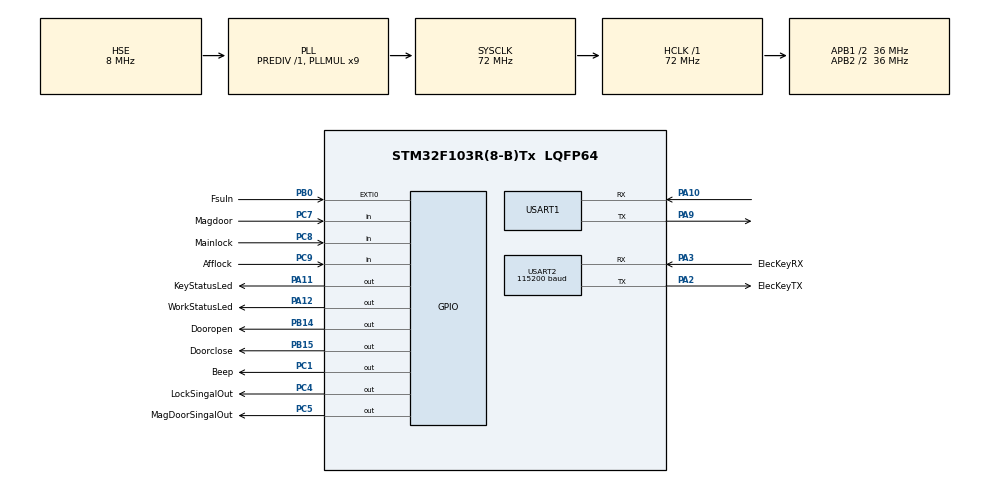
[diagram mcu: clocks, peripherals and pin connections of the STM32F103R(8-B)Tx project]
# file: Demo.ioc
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Mcu.Family=STM32F1
Mcu.Name=STM32F103R(8-B)Tx
Mcu.Package=LQFP64
Mcu.UserConstants=TIM2CounterPeriod,1999;Timer2_1S,1;Timer3_10S,10
NVIC.EXTI0_IRQn=true\:0\:1\:true\:true\:true\:1
NVIC.PriorityGroup=NVIC_PRIORITYGROUP_1
NVIC.TIM2_IRQn=true\:1\:1\:true\:false\:true
NVIC.TIM3_IRQn=true\:1\:1\:true\:false\:true
NVIC.USART1_IRQn=true\:1\:1\:true\:false\:true
NVIC.USART2_IRQn=true\:1\:1\:true\:false\:true
PA10.Mode=Asynchronous
PA10.Signal=USART1_RX
PA11.GPIO_Label=KeyStatusLed
PA11.GPIO_Speed=GPIO_SPEED_FREQ_HIGH
PA11.Signal=GPIO_Output
PA12.GPIO_Label=WorkStatusLed
PA12.GPIO_ModeDefaultOutputPP=GPIO_MODE_OUTPUT_PP
PA12.GPIO_Speed=GPIO_SPEED_FREQ_HIGH
PA12.Signal=GPIO_Output
PA13.Mode=Serial_Wire
PA13.Signal=SYS_JTMS-SWDIO
PA14.Mode=Serial_Wire
PA14.Signal=SYS_JTCK-SWCLK
PA2.GPIO_Label=ElecKeyTX
PA2.Mode=Asynchronous
PA2.Signal=USART2_TX
PA3.GPIO_Label=ElecKeyRX
PA3.Mode=Asynchronous
PA3.Signal=USART2_RX
PA9.Mode=Asynchronous
PA9.Signal=USART1_TX
PB0.GPIO_Label=FsuIn
PB0.GPIO_ModeDefaultEXTI=GPIO_MODE_IT_FALLING
PB0.GPIO_PuPd=GPIO_PULLUP
PB0.Signal=GPXTI0
PB14.GPIO_Label=Dooropen
PB14.GPIO_Speed=GPIO_SPEED_FREQ_HIGH
PB14.Signal=GPIO_Output
PB15.GPIO_Label=Doorclose
PB15.GPIO_Speed=GPIO_SPEED_FREQ_HIGH
PB15.Signal=GPIO_Output
PC1.GPIO_Label=Beep
PC1.GPIO_Speed=GPIO_SPEED_FREQ_HIGH
PC1.Signal=GPIO_Output
PC4.GPIO_Label=LockSingalOut
PC4.GPIO_Speed=GPIO_SPEED_FREQ_HIGH
PC4.PinState=GPIO_PIN_SET
PC4.Signal=GPIO_Output
PC5.GPIO_Label=MagDoorSingalOut
PC5.GPIO_Speed=GPIO_SPEED_FREQ_HIGH
PC5.PinState=GPIO_PIN_SET
PC5.Signal=GPIO_Output
PC7.GPIO_Label=Magdoor
PC7.Signal=GPIO_Input
PC8.GPIO_Label=Mainlock
PC8.GPIO_PuPd=GPIO_NOPULL
PC8.Signal=GPIO_Input
PC9.GPIO_Label=Afflock
PC9.Signal=GPIO_Input
PD0-OSC_IN.Mode=HSE-External-Oscillator
PD0-OSC_IN.Signal=RCC_OSC_IN
PD1-OSC_OUT.Mode=HSE-External-Oscillator
PD1-OSC_OUT.Signal=RCC_OSC_OUT
ProjectManager.HeapSize=0x200
ProjectManager.StackSize=0x400
ProjectManager.TargetToolchain=MDK-ARM V5
RCC.AHBFreq_Value=72000000
RCC.APB1CLKDivider=RCC_HCLK_DIV2
RCC.APB1Freq_Value=36000000
RCC.APB1TimFreq_Value=72000000
RCC.APB2CLKDivider=RCC_HCLK_DIV2
RCC.APB2Freq_Value=36000000
RCC.APB2TimFreq_Value=72000000
RCC.HCLKFreq_Value=72000000
RCC.HSIState=RCC_HSI_ON
RCC.PLLMUL=RCC_PLL_MUL9
RCC.PLLSourceVirtual=RCC_PLLSOURCE_HSE
RCC.SYSCLKFreq_VALUE=72000000
RCC.SYSCLKSource=RCC_SYSCLKSOURCE_PLLCLK
RCC.USBFreq_Value=72000000
TIM2.Period=1999
TIM2.Prescaler=35999
TIM3.Period=19999
TIM3.Prescaler=35999
USART2.BaudRate=115200
VP_TIM2_VS_ClockSourceINT.Mode=Internal
VP_TIM3_VS_ClockSourceINT.Mode=Internal
board=Demo_LEDandTimer2andUART2

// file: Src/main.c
/**
  ******************************************************************************
  * File Name          : main.c
  * Description        : Main program body
  ******************************************************************************
  *
  * COPYRIGHT(c) 2016 STMicroelectronics
  *
  * Redistribution and use in source and binary forms, with or without modification,
  * are permitted provided that the following conditions are met:
  *   1. Redistributions of source code must retain the above copyright notice,
  *      this list of conditions and the following disclaimer.
  *   2. Redistributions in binary form must reproduce the above copyright notice,
  *      this list of conditions and the following disclaimer in the documentation
  *      and/or other materials provided with the distribution.
  *   3. Neither the name of STMicroelectronics nor the names of its contributors
  *      may be used to endorse or promote products derived from this software
  *      without specific prior written permission.
  *
  * THIS SOFTWARE IS PROVIDED BY THE COPYRIGHT HOLDERS AND CONTRIBUTORS "AS IS"
  * AND ANY EXPRESS OR IMPLIED WARRANTIES, INCLUDING, BUT NOT LIMITED TO, THE
  * IMPLIED WARRANTIES OF MERCHANTABILITY AND FITNESS FOR A PARTICULAR PURPOSE ARE
  * DISCLAIMED. IN NO EVENT SHALL THE COPYRIGHT HOLDER OR CONTRIBUTORS BE LIABLE
  * FOR ANY DIRECT, INDIRECT, INCIDENTAL, SPECIAL, EXEMPLARY, OR CONSEQUENTIAL
  * DAMAGES (INCLUDING, BUT NOT LIMITED TO, PROCUREMENT OF SUBSTITUTE GOODS OR
  * SERVICES; LOSS OF USE, DATA, OR PROFITS; OR BUSINESS INTERRUPTION) HOWEVER
  * CAUSED AND ON ANY THEORY OF LIABILITY, WHETHER IN CONTRACT, STRICT LIABILITY,
  * OR TORT (INCLUDING NEGLIGENCE OR OTHERWISE) ARISING IN ANY WAY OUT OF THE USE
  * OF THIS SOFTWARE, EVEN IF ADVISED OF THE POSSIBILITY OF SUCH DAMAGE.
  *
  ******************************************************************************
  */
#include "stm32f1xx_hal.h"
#include "tim.h"
#include "usart.h"
#include "gpio.h"

/* USER CODE BEGIN Includes */
#include "lockinfo.h"
#include "user_usart.h"
#include "crc16.h"
#include "user_flash.h"
/* USER CODE END Includes */

/* USER CODE BEGIN PV */
/* Private variables ---------------------------------------------------------*/
#define aRxBufferSize			20

	_Bool FSUComSigFlag = 0;       //FSU Command signal Flag,FSU 命令信号
  _Bool FSUComSigValidFlag = 0;  //FSU Command signal Validate Flag,FSU 命令信号有效标志位

	uint8_t aTxBuffer[aRxBufferSize] = {0xe8,0x01,0xa2,03,0xb4,07,9,10,11,00,01,07};

	uint8_t aRxBuffer[aRxBufferSize];
  _Bool   aRxFlag = 0;

	_Bool Timer2_1S_Flag = 0;
	_Bool Timer2_1S_CheckDoor_Flag = 0;
	_Bool Timer3_10S_Flag = 0;
	uint8_t USART1_RecSuc_Flag = 0;//串口1接收一帧完成标志位
  uint8_t USART2_RecSuc_Flag = 0;//串口2接收一帧完成标志位
	uint8_t USART1_SedSuc_Flag = 0;//串口1接收一帧完成标志位
  uint8_t USART2_SedSuc_Flag = 0;//串口2接收一帧完成标志位
	//uint8_t tempval = 0;

/* USER CODE END PV */

void SystemClock_Config(void);
void MX_NVIC_Init(void);

/* USER CODE BEGIN PFP */
/* Private function prototypes -----------------------------------------------*/

/* USER CODE END PFP */

int main(void)
{

  /* USER CODE BEGIN 1 */
  uint8_t Enter1_Test = 0;
	uint8_t Enter2_Test = 0;
	uint8_t Count_Test = 0;
//	uint8_t tempval = 0;

	uint8_t PlatformUserCodeTemp[UserCodeByteSize]={'s','c','t','t',0x01,0x06};//test
	BackStatus Rec_Cmd_Succ_Flag = BackWait;//初始化读入串口指令的程序

	//uint8_t beep_count = 0;//蜂鸣器响的延迟
	uint8_t DoorLockStatus = 0;//门锁状态初始化
  /* USER CODE END 1 */

  /* MCU Configuration----------------------------------------------------------*/

  /* Reset of all peripherals, Initializes the Flash interface and the Systick. */
  HAL_Init();

  /* Configure the system clock */
  SystemClock_Config();

  /* Initialize all configured peripherals */
  MX_GPIO_Init();
  MX_TIM2_Init();
  MX_USART1_UART_Init();
  MX_USART2_UART_Init();
  MX_TIM3_Init();

  /* Initialize interrupts */
  MX_NVIC_Init();

  /* USER CODE BEGIN 2 */
  Lock_Init();//锁初始化，初始相关特性

	//=======================启动定时器2开启中断1S============================
  HAL_TIM_Base_Start_IT( &htim2 );//start TIM2 IT and Enable TIM2

	//=======================串口1发送中断启动发送，接收中断启动==============
	//使能串口1接收中断
	HAL_UART_Receive_IT(&huart1, USART1_Rec_CmdMemoryBuff,USART1_Rec_CmdMemoryBuffSize);
	//使能串口2发送和接收中断，并发送初始状态
	//HAL_UART_Transmit_IT(&huart2, USART2_Rec_CmdMemoryBuff, USART2_Rec_CmdMemoryBuffSize);
	HAL_UART_Receive_IT(&huart2, USART2_Rec_CmdMemoryBuff,USART2_Rec_CmdMemoryBuffSize);

	//============================Flash密码写入读出测试===============================
	//test
	Flash_Read_UserCode(Flash_User_StartAddr, PlatformUserCodeTemp, UserCodeByteSize);
	//while(HAL_UART_Transmit_IT(&huart2, PlatformUserCodeTemp, UserCodeByteSize) == HAL_BUSY){};//将存入的数，取出显示

  /* USER CODE END 2 */

  /* Infinite loop */
  while (1)
  {
  /* USER CODE BEGIN 3 */
//===========================用户代码开始===============================
		/*******************串口2接收命令处理*********************************/
		if(USART2_RecSuc_Flag)//串口2接收到一帧数据
		{
		//	Enter2_Test = 1;//测试点
			USART2_RecSuc_Flag = 0;//标志位清零

			Rec_Cmd_Succ_Flag = SavingUSART2RecCmd_To_Memory_Handle();

			if(Rec_Cmd_Succ_Flag == BackSuccess)//成功存储一个命令
			{
			//分析命令帧内容，执行相关命令
				USART2Cmd_Analys_Handle(USART2_Rec_CmdMemory);
			}
			else if(Rec_Cmd_Succ_Flag == BackNext)//命令还有下一帧
			{
				//使能准备接收，开始存放在USART2_Rec_CmdMemoryBuff
				//while(HAL_BUSY == HAL_UART_Receive_IT(&huart2, USART2_Rec_CmdMemoryBuff,USART2_Rec_CmdMemoryBuffSize)){};

				//请求对方，发送下一帧数据,在发送完成中断补充接收使能函数
				while(HAL_BUSY == HAL_UART_Transmit_IT(&huart2, GapReqCmd, 6)){};
			}
			else if(Rec_Cmd_Succ_Flag == BackWrong)
			{

			}
			else//Waiting mode
			{
				Enter2_Test = 1;//work led Toggle
			}
		}
		else
		{
		}

		/*******************开门命令处理*********************************/

		if(Cmd_LockOpenVali_Flag == 0x01 || FSUComSigFlag ==0x01 )//开门命令有效位为1
		{
			Cmd_LockOpenVali_Flag = 0;//清除标志位
			FSUComSigFlag = 0;
			Exe_Open_Lock();//开门
			//while(HAL_BUSY == HAL_UART_Transmit_IT(&huart2, GapReqCmd, 2)){};//test
			Mag_Lock_Singal_Out();//门锁信号输出

		}
		/*******************关门命令处理*********************************/
		else if(Cmd_LockClosedVali_Flag)//关门命令有效位为1
		{
			Cmd_LockClosedVali_Flag = 0;
			Exe_Close_Lock();//关门
			Mag_Lock_Singal_Out();//门锁信号输出
		}
		else
		{
			Mag_Lock_Singal_Out();//门锁信号输出
		}

		/******************检查门是否已关好*******************************/

		if(Timer2_1S_CheckDoor_Flag)
		{
			Timer2_1S_CheckDoor_Flag = 0;

			//HAL_GPIO_TogglePin(WorkStatusLed_GPIO_Port, WorkStatusLed_Pin);//test

			DoorLockStatus = ReadDoorLockState();

			//门磁处于打开状态 或者 门已合上，但是未上锁，需要警示
//			if(((DoorLockStatus & DoorMag1Open) == DoorMag1Open ) || ( (DoorLockStatus & LockingTab1Open) && ( !(DoorLockStatus & DoorMag1Open) ) ))
			if( (DoorLockStatus & LockingTab1Open) && ( !(DoorLockStatus & DoorMag1Open) ) )
			{
	//			HAL_GPIO_TogglePin(KeyStatusLed_GPIO_Port,KeyStatusLed_Pin);//灯亮灭
				Enter1_Test = 1;//驱动蜂鸣器发出响声
			}
			else
			{
				Enter1_Test = 0;
				//HAL_GPIO_WritePin(KeyStatusLed_GPIO_Port,KeyStatusLed_Pin,GPIO_PIN_SET);// LED
				//HAL_GPIO_WritePin(Beep_GPIO_Port,Beep_Pin,GPIO_PIN_RESET);
			}
		}

		/******************串口1接收命令处理********************************************/
		if(USART1_RecSuc_Flag)
		{
			//test
			HAL_UART_Transmit_IT(&huart2, USART1_Rec_CmdMemoryBuff, USART1_Rec_CmdMemoryBuffSize);//用串口2把串口1中的数据显示出来

			USART1_RecSuc_Flag = 0;//标志位清零
			//存储相关命令帧，如果按照01开头 80结尾会执行存储否则丢弃
			Rec_Cmd_Succ_Flag = SavingUSART1RecCmd_To_Memory_Handle();

			if(Rec_Cmd_Succ_Flag == BackSuccess)//成功存储一个命令
			{
			//分析命令帧内容，执行相关命令
				USART1Cmd_Analys_Handle(USART1_Rec_CmdMemory);
			}
			else if(Rec_Cmd_Succ_Flag == BackNext)//命令还有下一帧
			{
				//使能准备接收，开始存放在USART1_Rec_CmdMemoryBuff
				//while(HAL_BUSY == HAL_UART_Receive_IT(&huart1, USART1_Rec_CmdMemoryBuff,USART1_Rec_CmdMemoryBuffSize)){};

				//请求对方，发送下一帧数据,在发送完成中断补充接收使能函数
				while(HAL_BUSY == HAL_UART_Transmit_IT(&huart1, GapReqCmd, 6)){};
			}
			else if(Rec_Cmd_Succ_Flag == BackWrong)	//错误帧
			{

			}
			else//Waiting mode
			{
				//Enter2_Test = 1;//work led Toggle
			}
		}
		else
		{
		}

		if( Timer2_1S_Flag )
		{
			HAL_GPIO_TogglePin(KeyStatusLed_GPIO_Port,KeyStatusLed_Pin);//灯亮灭

			if( Enter1_Test==1 )
				Count_Test++;
			if((Count_Test == 1) && Enter1_Test)
			{
				HAL_GPIO_WritePin(Beep_GPIO_Port,Beep_Pin,GPIO_PIN_SET);			//响1S中，等1S后立即复位蜂鸣器
			}
			else
			{
				HAL_GPIO_WritePin(Beep_GPIO_Port,Beep_Pin,GPIO_PIN_RESET);
			}
			if(Count_Test > 4)
			{
					Count_Test = 0;
			}

			if( Enter2_Test==1) HAL_GPIO_TogglePin(WorkStatusLed_GPIO_Port, WorkStatusLed_Pin);//指示发送完成
			Timer2_1S_Flag = 0;//标志位清零
		}

	//===========================用户代码结束==================================
  }
  /* USER CODE END 3 */

}

/** System Clock Configuration
*/
void SystemClock_Config(void)
{

  RCC_OscInitTypeDef RCC_OscInitStruct;
  RCC_ClkInitTypeDef RCC_ClkInitStruct;

  RCC_OscInitStruct.OscillatorType = RCC_OSCILLATORTYPE_HSE;
  RCC_OscInitStruct.HSEState = RCC_HSE_ON;
  RCC_OscInitStruct.HSEPredivValue = RCC_HSE_PREDIV_DIV1;
  RCC_OscInitStruct.PLL.PLLState = RCC_PLL_ON;
  RCC_OscInitStruct.PLL.PLLSource = RCC_PLLSOURCE_HSE;
  RCC_OscInitStruct.PLL.PLLMUL = RCC_PLL_MUL9;
  HAL_RCC_OscConfig(&RCC_OscInitStruct);

  RCC_ClkInitStruct.ClockType = RCC_CLOCKTYPE_HCLK|RCC_CLOCKTYPE_SYSCLK
                              |RCC_CLOCKTYPE_PCLK1|RCC_CLOCKTYPE_PCLK2;
  RCC_ClkInitStruct.SYSCLKSource = RCC_SYSCLKSOURCE_PLLCLK;
  RCC_ClkInitStruct.AHBCLKDivider = RCC_SYSCLK_DIV1;
  RCC_ClkInitStruct.APB1CLKDivider = RCC_HCLK_DIV2;
  RCC_ClkInitStruct.APB2CLKDivider = RCC_HCLK_DIV2;
  HAL_RCC_ClockConfig(&RCC_ClkInitStruct, FLASH_LATENCY_2);

  HAL_SYSTICK_Config(HAL_RCC_GetHCLKFreq()/1000);

  HAL_SYSTICK_CLKSourceConfig(SYSTICK_CLKSOURCE_HCLK);

  /* SysTick_IRQn interrupt configuration */
  HAL_NVIC_SetPriority(SysTick_IRQn, 0, 0);
}

/** NVIC Configuration
*/
void MX_NVIC_Init(void)
{
  /* EXTI0_IRQn interrupt configuration */
  HAL_NVIC_SetPriority(EXTI0_IRQn, 0, 1);
  HAL_NVIC_EnableIRQ(EXTI0_IRQn);
}

/* USER CODE BEGIN 4 */
//====================FSU 命令下达回调函数˽========================
void HAL_GPIO_EXTI_Callback(uint16_t GPIO_Pin)
{
	FSUComSigFlag = 1;//FSU signal input pin - Opening command

}
//====================1S定时器TIMER2中断回调函数˽========================
void HAL_TIM_PeriodElapsedCallback(TIM_HandleTypeDef *htim)
{
	if(htim->Instance == TIM2 )//1S定时器TIMER2中断函数
	{
		Timer2_1S_Flag = 1;
		Timer2_1S_Beep_Flag = 1;
		Timer2_1S_CheckDoor_Flag = 1;
		//HAL_GPIO_TogglePin(Beep_GPIO_Port, Beep_Pin); // Output pin reverses when timer2 counted to 1S
		//HAL_GPIO_TogglePin(KeyStatusLed_GPIO_Port,KeyStatusLed_Pin);//灯亮灭
	}
	else if(htim->Instance == TIM3)//10S定时器回调函数
	{
		Timer3_10S_Flag = 1;
	}
}
//====================串口1和2中断回调函数==========================
void HAL_UART_TxCpltCallback(UART_HandleTypeDef *UartHandle)
{
  USART2_SedSuc_Flag = 1;
//HAL_GPIO_TogglePin(WorkStatusLed_GPIO_Port, WorkStatusLed_Pin);//指示发送完成
// HAL_GPIO_WritePin(WorkStatusLed_GPIO_Port, WorkStatusLed_Pin, GPIO_PIN_SET);
}

void HAL_UART_RxCpltCallback(UART_HandleTypeDef *huart)
{
//	HAL_GPIO_WritePin(Beep_GPIO_Port,Beep_Pin,GPIO_PIN_RESET);
//	HAL_GPIO_TogglePin(Beep_GPIO_Port, Beep_Pin);//指示接收完成
	if(huart->Instance == USART1 )
	{
		USART1_RecSuc_Flag = 1;//表示完成接收一帧数据
		HAL_UART_Receive_IT(&huart1, USART1_Rec_CmdMemoryBuff,USART1_Rec_CmdMemoryBuffSize);//使能准备接收
	}
	else if(huart->Instance == USART2)
	{
		USART2_RecSuc_Flag = 1;//表示完成接收一帧数据
		HAL_UART_Receive_IT(&huart2, USART2_Rec_CmdMemoryBuff,USART2_Rec_CmdMemoryBuffSize);//使能准备接收
	}
	else
	{
	}

}
/* USER CODE END 4 */

/************************ (C) COPYRIGHT STMicroelectronics *****END OF FILE****/
